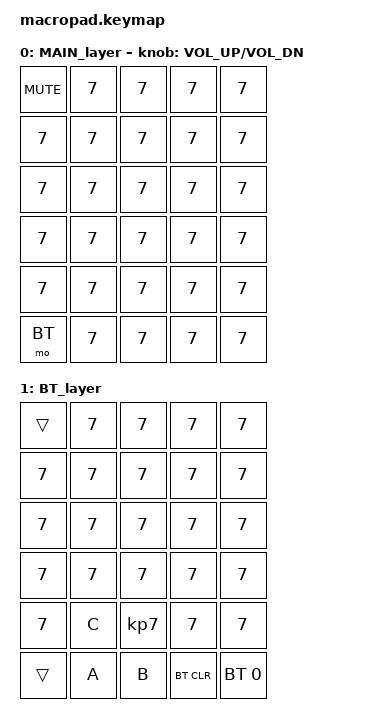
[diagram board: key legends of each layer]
#include <behaviors.dtsi>
#include <dt-bindings/zmk/keys.h>
#include <dt-bindings/zmk/bt.h>

#define MAIN 0
#define BT 1

/ {
    keymap {
        compatible = "zmk,keymap";

        MAIN_layer {
            bindings = <
                &kp C_MUTE  &kp N7      &kp N7      &kp N7      &kp N7
                &kp N7      &kp N7      &kp N7      &kp N7      &kp N7
                &kp N7      &kp N7      &kp N7      &kp N7      &kp N7
                &kp N7      &kp N7      &kp N7      &kp N7      &kp N7
                &kp N7      &kp N7      &kp N7      &kp N7      &kp N7
                &mo BT      &kp N7      &kp N7      &kp N7      &kp N7
            >;

            sensor-bindings = <&inc_dec_kp C_VOL_UP C_VOL_DN>;
        };

        BT_layer {
            bindings = <
                &trans      &kp N7      &kp N7      &kp N7      &kp N7
                &kp N7      &kp N7      &kp N7      &kp N7      &kp N7
                &kp N7      &kp N7      &kp N7      &kp N7      &kp N7
                &kp N7      &kp N7      &kp N7      &kp N7      &kp N7
                &kp N7      &kp C       &kp KP_N7   &kp N7      &kp N7
                &trans      &kp A       &kp B       &bt BT_CLR  &bt BT_SEL 0
            >;
        };
    };
};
